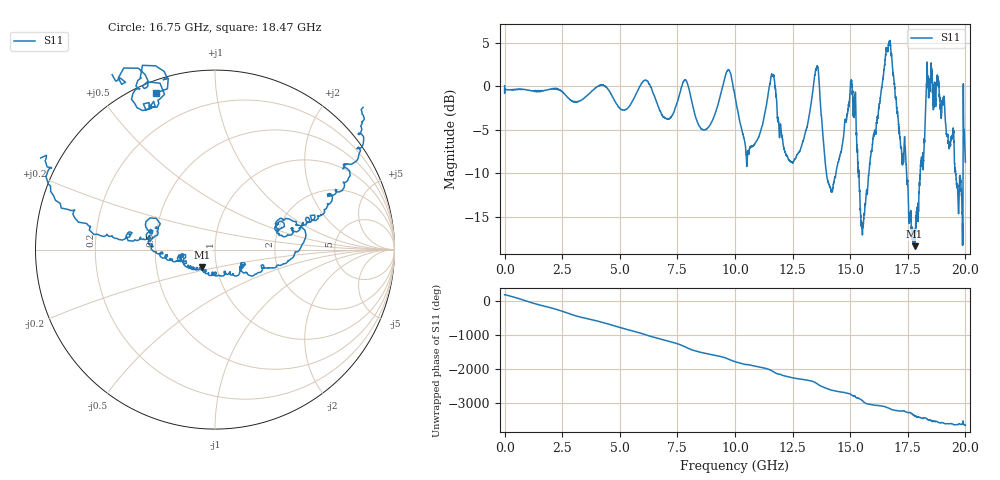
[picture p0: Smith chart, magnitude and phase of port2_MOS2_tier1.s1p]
! Created with skrf 1.8.0 (http://scikit-rf.org).
# GHz S RI R 50.0
!freq ReS11 ImS11
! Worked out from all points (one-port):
!   10001 points, 1 MHz to 20 GHz, reference 50 ohm
!   lowest |S11| = -18.4 dB at 17.79 GHz (marker M1), VSWR 1.27, Z = 42.6 - j8.44 ohm
!   |S11| at or under -10 dB: 13.97 GHz to 14.38 GHz (411 MHz wide, 2.9 % of centre); 15.38 GHz to 15.81 GHz (431.4 MHz wide, 2.77 % of centre); 17.45 GHz to 18.04 GHz (589.9 MHz wide, 3.32 % of centre) (the widest 3 of 6)
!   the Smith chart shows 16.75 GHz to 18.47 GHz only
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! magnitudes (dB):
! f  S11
! 1 MHz  0.1
! 2.501 GHz  -0.6
! 5.001 GHz  -2.6
! 6.099 GHz  0.7
! 6.955 GHz  -3.7
! 7.501 GHz  -1.8
! 7.869 GHz  0.7
! 8.679 GHz  -5.0
! 9.669 GHz  1.8
! 10 GHz  -1.1
! 10.56 GHz  -7.4
! 11.64 GHz  1.2
! 12.12 GHz  -7.2
! 12.5 GHz  -8.8
! 13.06 GHz  -5.3
! 13.55 GHz  2.2
! 13.96 GHz  -9.8
! 14.2 GHz  -12.0
! 15 GHz  -0.3
! 15.16 GHz  -2.6
! 15.55 GHz  -16.1
! 16.7 GHz  5.1
! 17.5 GHz  -11.3
! 17.79 GHz  -18.4
! 18.43 GHz  -0.9
! 19.06 GHz  -1.1
! 19.79 GHz  -11.1
! 20 GHz  -8.7
